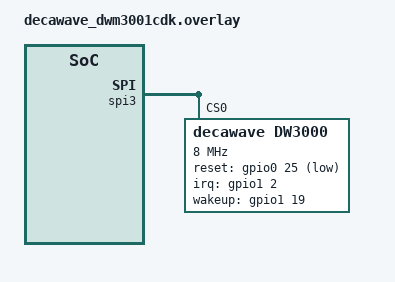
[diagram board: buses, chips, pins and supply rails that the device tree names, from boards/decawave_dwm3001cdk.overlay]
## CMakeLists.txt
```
# Anchor-to-anchor DS-TWR bench app.
#
# Deliberately NOT a sysbuild application with a bootloader. apps/dwm3001cdk-lock/ carries
# MCUboot and therefore needs `make dfu-key` before it will configure; this is a
# bench tool that gets flashed over SWD and never updated over the air, so
# giving it a signing key would add a setup step and buy nothing.
#
# Only two modules: ultrawidelock_uwb for the CONFIG_ULTRAWIDELOCK_UWB tier and modules/ultrawidelock_dw3000 under
# it. ultrawidelock_cred and ultrawidelock_matter are absent because nothing here is credential-aware --
# that is the point of building at this tier.
cmake_minimum_required(VERSION 3.20.0)

get_filename_component(REPO_ROOT "${CMAKE_CURRENT_LIST_DIR}/../../.." ABSOLUTE)

list(APPEND ZEPHYR_EXTRA_MODULES
	"${REPO_ROOT}/modules/ultrawidelock_uwb"
	"${REPO_ROOT}/modules/ultrawidelock_dw3000"
	"${REPO_ROOT}/ports/zephyr")

find_package(Zephyr REQUIRED HINTS $ENV{ZEPHYR_BASE})
project(ultrawidelock_anchor)

# Same guard apps/dwm3001cdk-lock/CMakeLists.txt carries, for the same reason: recovering
# debug access on either board costs a mass erase, and on the CDK that takes
# settings_storage and the reader identity with it. A bench image is exactly the
# kind of thing that would inherit the setting from a stray overlay unnoticed.
if(CONFIG_NRF_APPROTECT_LOCK OR CONFIG_NRF_SECURE_APPROTECT_LOCK)
	message(FATAL_ERROR
		"APPROTECT lock is enabled for this image. Refusing to build.\n"
		"  CONFIG_NRF_APPROTECT_LOCK        = ${CONFIG_NRF_APPROTECT_LOCK}\n"
		"  CONFIG_NRF_SECURE_APPROTECT_LOCK = ${CONFIG_NRF_SECURE_APPROTECT_LOCK}\n"
		"See apps/dwm3001cdk-lock/sysbuild.conf for why these boards never lock.")
endif()

# Two files, and nothing borrowed from the CCC tree. An earlier version of this
# compiled modules/ultrawidelock_uwb/src/ccc/ccc_mac.c in to reuse ccc_ds_twr_tof(); that
# helper accumulates its numerator unsigned and returns garbage below about a
# metre, so anchor_twr.c computes the same formula signed instead. See the
# comment at that computation for why this is the tree's own precedent rather
# than a shortcut.
target_sources(app PRIVATE
	src/main.c
	src/anchor_twr.c)
```

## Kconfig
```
# Anchor-to-anchor DS-TWR bench app.

mainmenu "ultrawidelock anchor"

choice
	prompt "Anchor role"
	default ANCHOR_ROLE_INITIATOR
	help
	  Which end of the DS-TWR round this board is. The pair needs exactly one
	  of each; two initiators never hear a POLL and two responders never send
	  one, and both failures present as a silent link.

config ANCHOR_ROLE_INITIATOR
	bool "Initiator (sends POLL, sets the cadence)"

config ANCHOR_ROLE_RESPONDER
	bool "Responder (replies, computes the distance)"

endchoice

config ANCHOR_REPLY_DELAY_US
	int "Delayed-TX reply delay (us)"
	default 3000
	range 500 20000
	help
	  How long after a received frame's RMARKER the reply is scheduled. This
	  is the number to raise first if `late` is ever non-zero in the ANCHOR
	  report line, because a non-zero `late` means the chip found the
	  programmed instant already past when it looked.

	  3000 is not arbitrary. The engine's own arm-deadline history
	  (modules/ultrawidelock_uwb/src/ccc/ccc_shim_rx.c, CCC_RX_POLL_LEAD) records that a
	  +1676 us deadline did NOT clear a settled dispatch latency of
	  1433-1616 us, and that moving it to +1836 us turned 60-240 us of margin
	  into 220-400 us. 3000 us leaves roughly 1.2 ms over the worst dispatch
	  that history measured, on a link whose cadence nobody else negotiates.

	  Lower it only with the `late` counter as evidence, never to make a
	  number look better.

config ANCHOR_ROUND_PERIOD_MS
	int "Initiator round period (ms)"
	default 100
	range 20 10000
	help
	  Gap between POLLs. 100 ms is 10 Hz, which is the stage-A range-rate pass
	  criterion. The responder has no equivalent setting: it waits, so the
	  initiator alone sets the cadence for the pair.

	  Deliberately NOT `depends on ANCHOR_ROLE_INITIATOR`. main() selects the
	  role with IS_ENABLED(), which compiles both branches and discards one at
	  link time, so the symbol has to exist in a responder build too. A
	  `depends on` here builds the initiator and breaks the responder, which is
	  a confusing way to learn how IS_ENABLED differs from #ifdef.

config ANCHOR_ANT_DLY_DTU
	int "Lumped antenna-delay calibration (DTU)"
	default 4092
	help
	  Subtracted from the computed time-of-flight before it becomes a
	  distance. Zero means uncalibrated; 4092 is the measured value for the
	  DWM3001CDK + nRF5340DK/DWM3000EVB pair this repository ranges with, and
	  it is only meaningful with CONFIG_ANCHOR_TX_512_ALIGN on. Nothing here
	  programs the DW3000's own TX_ANTD / CIA_CONF registers.

	  CALIBRATE THE ALIGNMENT BEFORE THE DELAY, NEVER THE OTHER WAY. Before
	  the 512 DTU alignment the range was bimodal, 817 mm and 1120 mm at a
	  true 1000, so any constant fitted then was fitted to a mixture and
	  described neither mode. With the alignment on, 2,229 samples read a mean
	  of 1003.3 mm and a median of 1004.0 -- a +3.3 mm residual. That residual
	  is statistically real, its standard error being 0.4 mm, and physically
	  irrelevant: it is 0.7 DTU, well under what a tape measure resolves.
	  Fitting it would be calibrating to the ruler.

	  Expect the first ~370 samples to read about 9 mm short of the rest. The
	  run above opens at 996.4 mm and settles at ~1005 for its remaining five
	  sixths, so a two-minute calibration will land low. Give it five.

	  Applied in the app rather than pushed into those registers on purpose.
	  A single distance measurement cannot separate the TX half from the RX
	  half, so writing two registers would be inventing a split the
	  measurement does not contain; one lumped constant in one visible place
	  is the honest shape.

	  IT IS A PER-PAIR CONSTANT, NOT A PER-BOARD ONE. Solving it at a known
	  distance with two boards absorbs both ends at once. That is exactly
	  right for a fixed anchor pair and wrong the moment a third board joins,
	  which will need per-board constants and a different procedure.

	  THE EXPECTED MAGNITUDE PRINTED HERE WAS WRONG AND WOULD HAVE REJECTED
	  THE CORRECT ANSWER. It said to expect a value near 16,000 and to treat
	  anything outside 8,000-32,000 as a fault to diagnose. The measured value
	  is 4,092, which that band calls broken. ~16,000 DTU is the magnitude of
	  the DW3000's own antenna-delay REGISTERS; this constant is a lumped
	  correction applied to the one-way time-of-flight instead, and there is
	  no reason for the two to be the same number. Trust a calibration against
	  a tape measure over any figure quoted here, including this one.

config ANCHOR_MEDIAN_N
	int "Median window for the published range (samples, must be odd)"
	default 1
	range 1 15
	help
	  DEFAULT 1, WHICH MEANS OFF. The filter is kept because the measurement
	  that retired it is worth not repeating, not because it is useful.

	  It was built for a diagnosis that turned out to be wrong. Stage A's
	  first run saw eight stationary samples at a tape-measured 1.000 m read
	  929, 975, 905, 929, 910, 619, 872, 600 mm, and read that as a sporadic
	  minority mode a median could outvote. Seventy samples later the false
	  mode was 37%, not 25%, and the median removed almost none of it: mean
	  absolute error 149.1 mm raw against 129.1 mm filtered. A per-tap
	  correction table did far better at 31.5 mm, and was also wrong, because
	  both were treating a symptom.

	  THE REAL DEFECT WAS THE DELAYED-TX TIMESTAMP. t5err, once it reported a
	  minimum beside its maximum, read 16149..16405 -- a spread of exactly 256
	  DTU in the difference between the predicted FINAL RMARKER and the one
	  the chip produced. Through DS-TWR that is 64 DTU of time-of-flight and
	  so 300.3 mm, against a measured 302 mm between the two range modes.
	  CONFIG_ANCHOR_TX_512_ALIGN fixes it, and with it on the range is
	  unimodal at 19.6 mm sd against 151.9 mm before, with 99.4% of 2,229
	  samples within 60 mm of the median and none outside 924-1083. There is
	  nothing left for a median to do.

	  WHAT TO TAKE FROM THIS, if a future run looks bimodal again: a maximum
	  cannot distinguish a constant from a spread, and the whole diagnosis
	  turned on adding a minimum next to one. Two hypotheses were wrong first
	  -- a sporadic half-chip slip, then first-path tap selection -- and both
	  produced plausible correlations. The first-path index correlated with
	  the range modes at r = -0.768, which looked like a mechanism and was a
	  coincidence of both being functions of t4's fine timing; after the fix
	  that correlation is +0.056 over 2,229 samples.

	  N MUST BE ODD, enforced by a BUILD_ASSERT in anchor_twr.c. An even
	  window has to combine its two middle samples, and against a bimodal
	  population those two can be one from each mode, so their average falls
	  in the gap between the modes -- the one value the measurement never
	  takes. Costs N * 4 B of .bss and the same again of stack.

config ANCHOR_LOG_EACH_RANGE
	bool "Log every accepted range with its first-path index"
	default y
	help
	  Print one line per accepted range: the published distance, the raw
	  distance before the median, and ipatovFpIndex from the FINAL reception
	  that produced it.

	  THIS EXISTS TO TEST ONE THING. The 1 m bench run measured a bimodal
	  range -- 817.2 mm at 62.9% and 1119.5 mm at 37.1%, separated by 302 mm.
	  One DW3000 accumulator tap is 1 / 998.4 MHz = 1.0016 ns = 300.4 mm, so
	  if the leading edge is latching on the adjacent tap the two modes must
	  differ by exactly one tap in ipatovFpIndex. That is a sharp prediction
	  and this is the cheapest way to check it.

	  WHY PER-RANGE AND NOT THE PERIODIC LINE. The periodic report samples
	  once per 20 s while the responder completes ~4.75 ranges per second, so
	  a 20-minute run yielded 70 observations out of 7,208 ranges. Estimating
	  a mode fraction from 1% of the population wastes the run.

	  main.c warns that a per-round line is a print every few tens of
	  milliseconds that the ranging path cannot absorb. That is the
	  INITIATOR's cadence. This logs only on the RESPONDER, only for ranges
	  that passed the plausibility check, at ~210 ms apart, and after the
	  round has completed -- nothing is armed and no deadline is pending.
	  Turn it off for any run that is measuring timing rather than geometry.

config ANCHOR_TX_512_ALIGN
	bool "Align delayed transmits to 512 DTU"
	default y
	help
	  Clear the low bit of the delayed-TX register value, so every scheduled
	  transmit lands on a 512 DTU boundary instead of a 256 DTU one.

	  WHY. The 1 m bench run measured t5err=16149..16405 -- the difference
	  between the predicted FINAL RMARKER and the one the chip reported spans
	  exactly 256 DTU. Through DS-TWR that is 64 DTU of time-of-flight and so
	  300.3 mm, against a measured 302 mm between the two range modes. The
	  bimodal range is this, not a first-path detection failure.

	  A two-valued 256 DTU error is the signature of hardware that ignores the
	  low nine bits of system time while the code predicts to eight: the true
	  instant is then ((dx & ~1) << 8), so the prediction is exact when dx is
	  even and 256 DTU early when it is odd. Forcing dx even makes it exact.

	  Costs 0 or 256 DTU off the reply delay, which is 4 ns against 3000 us.

	  n restores the previous behaviour, which is what every measurement
	  before this used. Keep it reachable: if the range stays bimodal with
	  this on, the theory is wrong and the comparison is the evidence.

source "Kconfig.zephyr"
```

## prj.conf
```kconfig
# Anchor-to-anchor DS-TWR bench app.

# ── the UWB tier ─────────────────────────────────────────────────────────────
# ULTRAWIDELOCK_UWB and nothing above it. At this tier uwb_seam.h inlines its four helpers
# straight to the decadriver, uwb_min.c is the only ultrawidelock_uwb source compiled, and
# there is no CCC engine, no key schedule and no credential in the image. The
# responder and credential tiers exist to serve a phone; both ends of this link are
# ours, so neither is wanted here.
CONFIG_SPI=y
CONFIG_SPI_ASYNC=y
CONFIG_DW3000=y
CONFIG_DW3000_CHIP_DW3000=y
CONFIG_ULTRAWIDELOCK_UWB=y

# The `ultrawidelock` command tree drives a CCC engine this image does not contain, so
# it would offer commands that cannot work. Same reasoning the CDK reader gives
# (modules/ultrawidelock_uwb/Kconfig:26-29), reached from the other direction.
CONFIG_ULTRAWIDELOCK_UWB_SHELL=n

# ── logging ──────────────────────────────────────────────────────────────────
# RTT, because the DWM3001CDK has no UART console at all and one console
# configuration across both boards is what makes the two capture sessions
# comparable. The nRF5340 DK also has VCOM1, which stage C1 uses; leaving RTT on
# for both means the log FORMAT is identical either way.
CONFIG_LOG=y
CONFIG_LOG_MODE_MINIMAL=n
CONFIG_LOG_DEFAULT_LEVEL=3
CONFIG_USE_SEGGER_RTT=y
CONFIG_RTT_CONSOLE=y
CONFIG_UART_CONSOLE=n
CONFIG_SEGGER_RTT_BUFFER_SIZE_UP=4096
# The ring is NOINIT and survives a reset, so without this a fresh image reads
# back the PREVIOUS firmware's log and every conclusion drawn from it is wrong.
CONFIG_SEGGER_RTT_INIT_MODE_ALWAYS=y

# ── the ranging thread ───────────────────────────────────────────────────────
# main() runs the whole exchange, so its stack carries the SPI transfers and the
# 64-bit timestamp arithmetic.
#
# 4096, matching apps/dwm3001cdk-lock/prj.conf, and that is evidence rather than caution.
# This started at 2048 -- the Zephyr default -- with a comment saying to raise it
# only on THREAD_ANALYZER evidence. The evidence arrived as a bring-up that
# printed the DW3000 SPI banner and then stopped dead, with no fault, no further
# log line and a live RTT ring: exactly the shape the three MPU stack-guard
# faults in this repo took. The first SPI transceive is the deepest call the
# init path makes.
CONFIG_MAIN_STACK_SIZE=4096
# So the next one is a message and not another silent hang.
#
# AUTO is off: its 30 s dump is what proved main was being ABORTED rather than
# blocked (main simply stopped appearing in the list), and having done that it
# became a flood that buried the fault dump it had pointed at. Available on
# demand, not spraying.
CONFIG_THREAD_ANALYZER=y
CONFIG_THREAD_ANALYZER_AUTO=n
CONFIG_THREAD_NAME=y

# Bring-up only. Deferred logging hands a message to a lower-priority thread,
# so a thread that faults can die with its last words still queued -- which is
# how a crash reads as a hang. Immediate mode writes from the calling context,
# so the line before the fault is guaranteed out. Costs latency on the ranging
# path and must come off before any timing measurement is believed.
CONFIG_LOG_MODE_IMMEDIATE=y

# DROP, NOT BLOCK, AND THIS IS NOT A PREFERENCE. The default for this backend is
# CONFIG_LOG_BACKEND_RTT_MODE_BLOCK, which retries the write until it succeeds.
# With no host draining RTT the 4096 B up-buffer fills and the next LOG_INF never
# returns, so the board silently stops ranging until a monitor attaches -- the
# ranging thread is parked inside a log call. It was survivable while the only
# output was one line per 20 s, which fills the buffer in roughly 14 minutes. A
# line per range fills it in roughly 21 seconds, which makes attended operation
# mandatory rather than convenient.
#
# What DROP costs: lines vanish when nobody is listening. That is the correct
# trade for a bench app, because the lines only matter while a capture is
# running, and a capture by definition has a host attached.
CONFIG_LOG_BACKEND_RTT_MODE_DROP=y

CONFIG_HEAP_MEM_POOL_SIZE=2048

# No BLE, no Thread, no settings, no USB. A bench link needs none of them, and
# leaving them out is what keeps this image's timing free of anything that could
# preempt the delayed-TX arm.
CONFIG_BT=n
CONFIG_NETWORKING=n
```

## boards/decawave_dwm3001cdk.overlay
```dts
/*
 * DWM3001CDK anchor — board overlay.
 *
 * The DW3110 is already wired inside the DWM3001C module and &spi3 is enabled by
 * the board with CS on P1.06; only the side-band GPIOs are ours to add. Values
 * are identical to apps/dwm3001cdk-lock/boards/decawave_dwm3001cdk.overlay, which is the
 * copy that has been on hardware:
 *   SCK P0.03 - MOSI P0.08 - MISO P0.29 - CS P1.06
 *   IRQ P1.02 - RESETn P0.25 - WAKEUP P1.19
 *
 * Kept as its own file rather than included from apps/dwm3001cdk-lock/: the two apps have
 * different lifetimes, and a bench tool silently inheriting a product's pin map
 * is how a wiring change reaches one and not the other.
 */

&spi3 {
	dw3000: dw3000@0 {
		compatible = "decawave,dw3000";
		reg = <0>;
		/* 8 MHz, matching the proven value on both boards. Raise only with
		 * a DEV_ID read loop as evidence. */
		spi-max-frequency = <8000000>;
		reset-gpios  = <&gpio0 25 GPIO_ACTIVE_LOW>;
		irq-gpios    = <&gpio1  2 GPIO_ACTIVE_HIGH>;
		wakeup-gpios = <&gpio1 19 GPIO_ACTIVE_HIGH>;
	};
};

&gpio1 {
	status = "okay";
};
```

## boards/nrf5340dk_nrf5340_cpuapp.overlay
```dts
/*
 * nRF5340 DK + seated DWM3000EVB anchor — board overlay.
 *
 * SPIM4 on the Arduino header, side-band GPIOs per the seated shield. The pin
 * map is the one apps/nrf5340dk-lock/overlays/dw3000-nfc.overlay already proves on
 * this hardware:
 *   SCK P1.15 - MOSI P1.13 - MISO P1.14 - CS P1.12
 *   RSTn P1.09 - IRQ P1.10 - WAKEUP P1.11
 *
 * The NFC half of that overlay is deliberately absent: this app has no reader,
 * so SPIM1 and the NFC12A1 ribbon are not wired here and the DK's own defaults
 * for those pins stand.
 *
 * NO NET-CORE IMAGE IS NEEDED. The DK's Matter build carries one because Thread
 * lives on the net core; this app has no radio but the DW3000, which hangs off
 * the app core's SPIM4. That is what makes a standalone DK anchor a plain
 * single-image Zephyr build rather than a port of the add-on.
 */

&pinctrl {
	spi4_default: spi4_default {
		group1 {
			psels = <NRF_PSEL(SPIM_SCK,  1, 15)>,
				<NRF_PSEL(SPIM_MOSI, 1, 13)>,
				<NRF_PSEL(SPIM_MISO, 1, 14)>;
		};
	};

	spi4_sleep: spi4_sleep {
		group1 {
			psels = <NRF_PSEL(SPIM_SCK,  1, 15)>,
				<NRF_PSEL(SPIM_MOSI, 1, 13)>,
				<NRF_PSEL(SPIM_MISO, 1, 14)>;
			low-power-enable;
		};
	};
};

&spi4 {
	status = "okay";
	pinctrl-0 = <&spi4_default>;
	pinctrl-1 = <&spi4_sleep>;
	pinctrl-names = "default", "sleep";
	cs-gpios = <&gpio1 12 GPIO_ACTIVE_LOW>;

	dw3000: dw3000@0 {
		compatible = "decawave,dw3000";
		reg = <0>;
		/* 8 MHz, not 32: the app core runs at 65 MHz here, so SPIM4's
		 * 32 MHz mode is not reliable. 8 MHz is the proven seated-shield
		 * speed and matches the CDK, which keeps the two boards' SPI
		 * timing out of any bring-up difference. */
		spi-max-frequency = <8000000>;
		reset-gpios  = <&gpio1  9 GPIO_ACTIVE_LOW>;
		irq-gpios    = <&gpio1 10 GPIO_ACTIVE_HIGH>;
		wakeup-gpios = <&gpio1 11 GPIO_ACTIVE_HIGH>;
	};
};

&gpio1 {
	status = "okay";
};
```

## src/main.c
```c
/* SPDX-License-Identifier: ISC */

/*
 * Anchor-to-anchor UWB ranging: stage A of the two-anchor plan
 *.
 *
 * One application, two roles, two boards. The role is CONFIG_ANCHOR_ROLE_*, the
 * board is the overlay in boards/. Nothing here is credential-aware: this builds at
 * the CONFIG_ULTRAWIDELOCK_UWB tier, where uwb_seam.h inlines straight to the decadriver
 * and there is no credential, no STS engine and no phone in the loop. That is
 * the whole reason stage A is cheap, and it is why moving the satellite to a
 * second DWM3001CDK later is a board string rather than a port.
 *
 * Everything runs in this thread. The DS-TWR exchange polls SYS_STATUS rather
 * than taking DW3000 callbacks, so the standing rule for this hardware --
 * nothing blocking on a ranging callback, because the delayed-TX reply window
 * is measured in microseconds -- holds by construction.
 */
#include <zephyr/kernel.h>
#include <zephyr/logging/log.h>

#include "anchor_twr.h"

LOG_MODULE_REGISTER(main, CONFIG_LOG_DEFAULT_LEVEL);

/*
 * There is deliberately no `ultrawidelock_uwb_diag_on = 0` here, unlike
 * apps/dwm3001cdk-lock/src/main.c.
 *
 * That flag and every DIAGK call site live in ccc_shim_rx.c and uwb_rxdiag.c,
 * which ultrawidelock_uwb compiles only at the CONFIG_ULTRAWIDELOCK_CRED tier. This app is below
 * it, so the per-frame trace is not merely switched off, it does not exist --
 * the symbol is undefined and referencing it fails the link. The rule the lock
 * has to enforce at runtime is enforced here by the build.
 */

/** How often the counters are summarised, in completed rounds. */
#define REPORT_EVERY 100u

/**
 * One line per report interval, in a form a host script can parse without
 * knowing anything about this firmware: `ANCHOR` then key=value pairs.
 *
 * Printed from thread context between rounds, never from the exchange, and
 * deliberately not once per round -- at the initiator's cadence a per-round
 * line is a print every few tens of milliseconds, which is exactly the load
 * this board's ranging path cannot absorb.
 */
static void report(void)
{
	struct anchor_twr_stats s;

	anchor_twr_stats(&s);
	/* raw beside median on purpose: their difference is the half-chip slip, and
	 * a run where they stop diverging is a run where the filter is unnecessary. */
	/* t5err as a RANGE, not a maximum: the spread is what says whether the
	 * delayed-TX prediction is the constant ANCHOR_ANT_DLY_DTU absorbs. A
	 * min above the max means no delayed TX has completed yet. */
	LOG_INF("ANCHOR rounds=%u ranges=%u to=%u late=%u rej=%u t5err=%u..%u "
		"last_mm=%d raw_mm=%d fp=%u xtal=%d",
		(unsigned int)s.rounds, (unsigned int)s.ranges, (unsigned int)s.timeouts,
		(unsigned int)s.late, (unsigned int)s.rejected, (unsigned int)s.t5_err_min,
		(unsigned int)s.t5_err_max, (int)s.last_mm, (int)s.last_raw_mm,
		(unsigned int)s.last_fp_index, (int)s.last_xtal_offset);
}

/**
 * Entry point. Brings the DW3000 up, applies the anchor PHY, then loops on the
 * configured role for ever. Returns non-zero only if the radio never came up,
 * which on this board is a wiring or power fault rather than a software one.
 */
int main(void)
{
	uint32_t seq = 0;
	int rc;

	/* ASCII only: RTT is a byte stream and a UTF-8 dash renders as mojibake. */
	LOG_INF("ultrawidelock anchor: %s role",
		IS_ENABLED(CONFIG_ANCHOR_ROLE_INITIATOR) ? "INITIATOR" : "RESPONDER");

	rc = anchor_twr_init();
	if (rc != 0) {
		LOG_ERR("anchor_twr_init rc=%d", rc);
		return rc;
	}

	while (1) {
		if (IS_ENABLED(CONFIG_ANCHOR_ROLE_INITIATOR)) {
			(void)anchor_twr_initiator_round(seq);
			seq++;
			/* The initiator sets the cadence for both boards; the
			 * responder simply waits. Sleeping only here is what keeps
			 * the responder's receiver armed across the whole gap. */
			k_msleep(CONFIG_ANCHOR_ROUND_PERIOD_MS);
		} else {
			int32_t mm = 0;
			uint32_t rx_seq = 0;

			(void)anchor_twr_responder_round(&mm, &rx_seq);
			/* Counted locally rather than from rx_seq: the initiator's
			 * sequence restarts whenever that board reboots, and a
			 * report cadence driven off it would then stall. */
			seq++;
		}

		if ((seq % REPORT_EVERY) == 0u) {
			report();
		}
	}
	return 0;
}
```

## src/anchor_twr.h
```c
/* SPDX-License-Identifier: ISC */

/**
 * @file anchor_twr.h — anchor-to-anchor DS-TWR, both roles.
 *
 * A three-message double-sided two-way ranging round between two boards this
 * project owns both ends of. No CCC, no credential protocol, no phone: the
 * whole thing runs at the CONFIG_ULTRAWIDELOCK_UWB tier, where uwb_seam.h inlines to the
 * bare decadriver and there is no STS engine to bind.
 *
 *   initiator                     responder
 *     t1  POLL  ---------------->  t2
 *     t4  <---------------  RESP   t3   (delayed TX, ANCHOR_REPLY_DELAY_US)
 *     t5  FINAL ---------------->  t6   (delayed TX, ANCHOR_REPLY_DELAY_US)
 *                carries t_round1 = t4-t1 and t_reply2 = t5-t4
 *
 * The responder holds t2, t3 and t6 itself, so the FINAL's two intervals
 * complete the set and it is the responder that computes the distance.
 *
 * Everything polls SYS_STATUS rather than taking DW3000 callbacks: the whole
 * exchange stays in thread context, so "nothing logs from a ranging callback"
 * holds by construction. uwb_min_twr_exchange() is the model.
 */

#ifndef ANCHOR_TWR_H
#define ANCHOR_TWR_H

#include <stdint.h>

/** Counters for the whole run; read with anchor_twr_stats(). */
struct anchor_twr_stats {
	uint32_t rounds;   /**< POLLs sent (initiator) or POLLs received (responder). */
	uint32_t ranges;   /**< Rounds that produced a distance (responder only). */
	uint32_t timeouts; /**< Rounds lost to an RX timeout at either step. */
	uint32_t late;     /**< Delayed TX refused by the chip: the arm missed its slot. */
	uint32_t rejected; /**< Ranges outside the plausibility band. */
	/** Worst |predicted t5 - actual t5| seen, DTU. Proves the prediction is a
	 *  constant the calibration absorbs; a drifting value means it is not. */
	uint32_t t5_err_max;
	/** Best |predicted t5 - actual t5| seen, DTU. The max alone cannot tell a
	 *  constant from a spread, and the spread is the question: 256 DTU of
	 *  reply-time error is 64 DTU of time-of-flight and therefore 300 mm,
	 *  against a measured 302 mm gap between the two range modes. Initialised
	 *  to UINT32_MAX in anchor_twr_init(), so max < min means no delayed TX
	 *  has completed yet rather than an impossible measurement. */
	uint32_t t5_err_min;
	/** Most recent PUBLISHED distance, mm: the median of the last
	 *  CONFIG_ANCHOR_MEDIAN_N raw samples, not the newest one. */
	int32_t last_mm;
	/** Most recent RAW distance, mm, before the median. Kept because the
	 *  half-chip leading-edge slip the median exists to reject is only
	 *  visible here -- if this stops being bimodal, the filter can go. */
	int32_t last_raw_mm;
	/** ipatovFpIndex from the FINAL reception that produced last_raw_mm,
	 *  Q10.6: the integer part is the accumulator tap, the low 6 bits are
	 *  sixty-fourths of one. One tap is 300.4 mm, and the measured gap
	 *  between the two range modes is 302 mm, so this is the register that
	 *  says whether those are the same phenomenon. */
	uint32_t last_fp_index;
	/** xtalOffset from the same reception: the measured clock offset between
	 *  the two boards. The first-path index ramps and wraps with period 8,
	 *  which is a clock phase relationship, and this is the register that says
	 *  whether the ramp rate matches the clock or is something else. */
	int32_t last_xtal_offset;
};

/** Bring the radio up and apply the anchor PHY (SP0, STS off). 0 on success. */
int anchor_twr_init(void);

/** Run one initiator round. Returns 0 when the FINAL was transmitted. */
int anchor_twr_initiator_round(uint32_t seq);

/**
 * Wait for one responder round.
 *
 * @param mm_out  accepted distance, mm (written only on 0 return).
 * @param seq_out round sequence the initiator stamped (written only on 0 return).
 * @return 0 on an accepted range, negative otherwise.
 */
int anchor_twr_responder_round(int32_t *mm_out, uint32_t *seq_out);

/** Copy the counters out. */
void anchor_twr_stats(struct anchor_twr_stats *out);

#endif /* ANCHOR_TWR_H */
```
